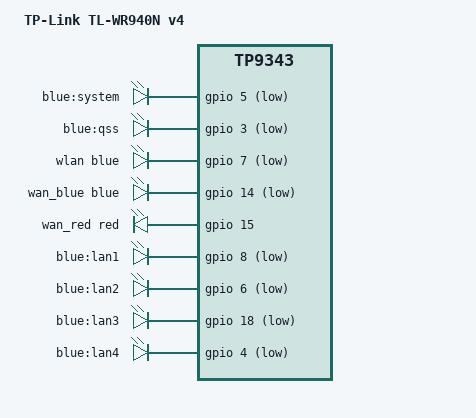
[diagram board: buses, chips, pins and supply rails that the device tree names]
// SPDX-License-Identifier: GPL-2.0-or-later OR MIT

#include <dt-bindings/leds/common.h>

#include "tp9343_tplink_tl-wr94x.dtsi"

/ {
	compatible = "tplink,tl-wr940n-v4", "qca,tp9343";
	model = "TP-Link TL-WR940N v4";

	aliases {
		led-boot = &led_system;
		led-failsafe = &led_system;
		led-running = &led_system;
		led-upgrade = &led_system;
	};

	leds {
		compatible = "gpio-leds";

		led_system: system {
			label = "blue:system";
			gpios = <&gpio 5 GPIO_ACTIVE_LOW>;
			default-state = "on";
		};

		qss {
			label = "blue:qss";
			gpios = <&gpio 3 GPIO_ACTIVE_LOW>;
		};

		wlan {
			function = LED_FUNCTION_WLAN;
			color = <LED_COLOR_ID_BLUE>;
			gpios = <&gpio 7 GPIO_ACTIVE_LOW>;
			linux,default-trigger = "phy0tpt";
		};

		wan_blue {
			function = LED_FUNCTION_WAN;
			color = <LED_COLOR_ID_BLUE>;
			gpios = <&gpio 14 GPIO_ACTIVE_LOW>;
		};

		wan_red {
			function = LED_FUNCTION_WAN;
			color = <LED_COLOR_ID_RED>;
			gpios = <&gpio 15 GPIO_ACTIVE_HIGH>;
		};

		lan1 {
			label = "blue:lan1";
			gpios = <&gpio 8 GPIO_ACTIVE_LOW>;
		};

		lan2 {
			label = "blue:lan2";
			gpios = <&gpio 6 GPIO_ACTIVE_LOW>;
		};

		lan3 {
			label = "blue:lan3";
			gpios = <&gpio 18 GPIO_ACTIVE_LOW>;
		};

		lan4 {
			label = "blue:lan4";
			gpios = <&gpio 4 GPIO_ACTIVE_LOW>;
		};
	};
};

&eth1 {
	nvmem-cells = <&macaddr_uboot_1fc00 0>;
	nvmem-cell-names = "mac-address";
};
